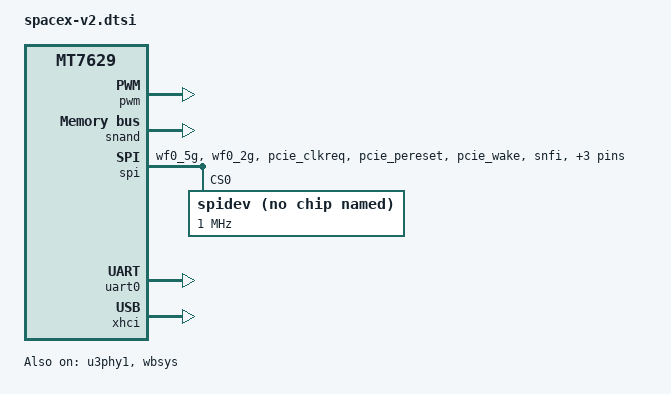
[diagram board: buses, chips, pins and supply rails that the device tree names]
/*
 * Copyright (c) 2017 MediaTek Inc.
 * Author: Dehui.Sun <dehui.sun@mediatek.com>
 *
 * This program is free software; you can redistribute it and/or modify
 * it under the terms of the GNU General Public License version 2 as
 * published by the Free Software Foundation.
 *
 * This program is distributed in the hope that it will be useful,
 * but WITHOUT ANY WARRANTY; without even the implied warranty of
 * MERCHANTABILITY or FITNESS FOR A PARTICULAR PURPOSE.  See the
 * GNU General Public License for more details.
 */

#include "mt7629.dtsi"
#include <dt-bindings/input/input.h>

/ {
	compatible = "mediatek,mt7629-rfb1", "mediatek,mt7629";

	chosen {
		bootargs = "earlycon=uart8250,mmio32,0x11002000 \
console=ttyS0,115200n1 loglevel=8";
	};

	ethphy {
		compatible = "mediatek,eth-fe-gphy";
		reg = <2>;
		resets = <&ethsys LEOPARD_ETHSYS_EPHY_RST>;
		reset-names = "mtk_gephy";
		mediatek,eth = <&eth>;
		mediatek,mdio = <&mdio>;
		mediatek,infracfg = <&infracfg>;
		status = "okay";
	};

	gpio-keys {
		compatible = "gpio-keys";
		#address-cells = <1>;
		#size-cells = <0>;

		reset {
			label = "reset";
			gpios = <&pio 60 1>;
			linux,code = <KEY_RESTART>;
		};

		wps {
			label = "wps";
			gpios = <&pio 58 1>;
			linux,code = <KEY_WPS_BUTTON>;
		};
	};

	memory {
		device_type = "memory";
		reg = <0 0x40000000 0 0x10000000>;
	};

	reserved-memory {
		atf-reserved-memory@43000000 {
			compatible = "mediatek,leopard-atf-reserved";
			no-map;
			reg = <0 0x43000000 0 0x00300000>;
		};
	};

	psci {
		compatible = "arm,psci-0.2";
		method = "smc";
	};

};

&eth {
	pinctrl-names = "default";
	pinctrl-0 = <&phy_leds_pins>;
	status = "okay";

	gmac0: mac@0 {
		compatible = "mediatek,eth-mac";
		reg = <0>;
		phy-handle = <&phy1>;
	};

	gmac1: mac@1 {
		compatible = "mediatek,eth-mac";
		reg = <1>;
		phy-handle = <&phy0>;
	};

	mdio: mdio-bus {
		#address-cells = <1>;
		#size-cells = <0>;

		phy0: ethernet-phy@0 {
			compatible = "ethernet-phy-id03a2.9471";
			reg = <0>;
			phy-mode = "gmii";
		};

		phy1: ethernet-phy@1 {
			reg = <1>;
			phy-mode = "sgmii";
		};
	};
};

&sgmiisys_0 {
	mediatek,physpeed = "auto";
};

&hnat {
	mtketh-wan = "eth1";
	mtketh-ppd = "eth0";
	ext-devices = "ra0", "rax0", "apcli0", "apclix0";
	mtketh-max-gmac = <2>;
	status = "okay";
};

&i2c0 {
	pinctrl-names = "default";
	pinctrl-0 = <&i2c0_pins>;
	status = "okay";
};

&nor_flash {
	status = "okay";
	flash@0 {
		compatible = "jedec,spi-nor";
		#address-cells = <1>;
		#size-cells = <1>;
		partition@00000 {
			label = "Bootloader";
			reg = <0x00000 0x0060000>;
		};
		partition@60000 {
			label = "Config";
			reg = <0x60000 0x0010000>;
		};
		partition@70000 {
			label = "Factory";
			reg = <0x70000 0x0040000>;
		};
		partition@b0000 {
			label = "Kernel";
			reg = <0xb0000 0xb50000>;
		};
	};
};

&pcie {
	pinctrl-names = "default";
	pinctrl-0 = <&pinctrl_pcie_default>;
};

&pio {
	phy_leds_pins: leds-pins-0 {
		mux {
			function = "led";
			groups = "gphy_leds_0", "ephy_leds";
		};
	};

	i2c0_pins: i2c0@0 {
		pins_bus {
			groups = "i2c_0";
			function = "i2c";
			bias-disable;
			drive-strength = <4>;
		};
	};

	nor_flash_pins: nor_flash_pins {
		pins_bus {
			groups = "nor_flash_io", "nor_flash_wp", \
				 "nor_flash_hold";
			function = "nor_flash";
		};
	};

	pinctrl_wifi_default: wifi-default {
		mux-wf0_5g {
			groups = "wf0_5g";
			function = "wifi";
			drive-strength = <4>;
		};
		mux-wf0_2g {
			groups = "wf0_2g";
			function = "wifi";
			drive-strength = <4>;
		};
	};

	pinctrl_pcie_default: pcie-default {
		mux-pcie_clkreq {
			groups = "pcie_clkreq";
			function = "pcie";
		};
		mux-pcie_pereset {
			groups = "pcie_pereset";
			function = "pcie";
		};
		mux-pcie_wake {
			groups = "pcie_wake";
			function = "pcie";
		};
	};

	pinctrl_snand_default: snand_default {
		pins_bus {
			groups = "snfi", "snfi_wp", "snfi_hold";
			function = "snfi";
		};
	};

	pinctrl_spi_default: spi_default {
		mux_spi {
			groups = "spi_0";
			function = "spi";
			bias-disable;
		};
	};
};

&pwm {
	status = "okay";
};

&snand {
	status = "okay";
	mediatek,quad-spi;

	partitions {
		compatible = "fixed-partitions";
		#address-cells = <1>;
		#size-cells = <1>;
	};
};

&spi {
	pinctrl-names = "default";
	pinctrl-0 = <&pinctrl_spi_default>;

	spidev: spi@0 {
		compatible = "rohm,dh2228fv";
		reg = <0>;
		spi-max-frequency = <1000000>;
	};
};

&u3phy1 {
	status = "okay";
};

&uart0 {
	status = "okay";
};

&wbsys {
	pinctrl-names = "default";
	pinctrl-0 = <&pinctrl_wifi_default>;
	status = "okay";
};

&wifi_emi_loader {
	board_v11 = <1>;
};

&xhci {
	status = "okay";
};


